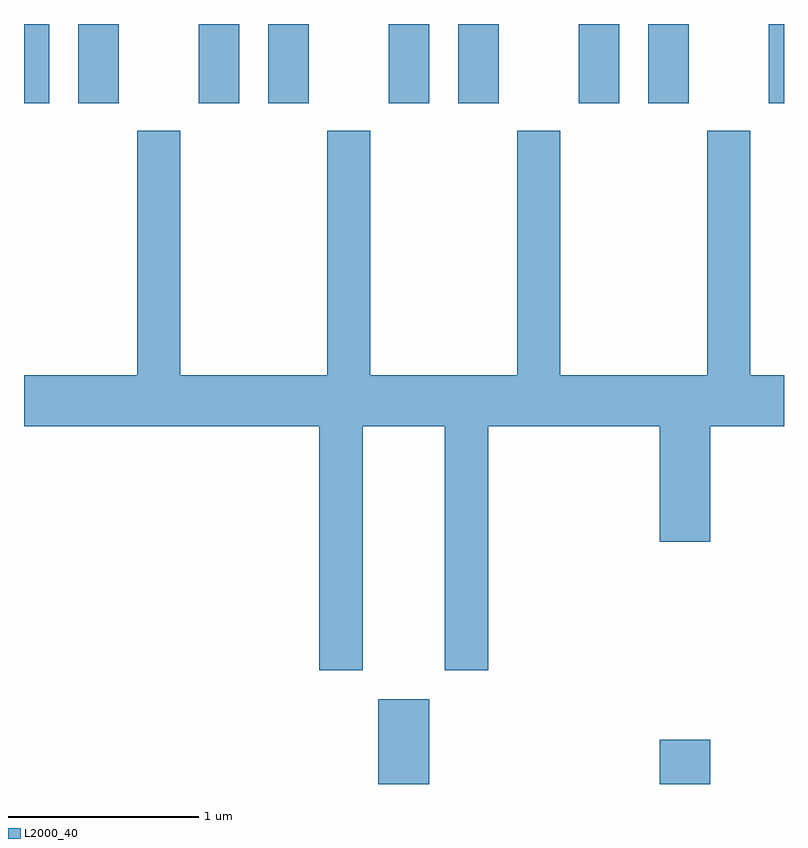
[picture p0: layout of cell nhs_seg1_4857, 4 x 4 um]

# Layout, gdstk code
import gdstk
lib = gdstk.Library(unit=1e-6, precision=1e-09)
def R(c, l, rs):  # rectangles x0, y0, x1, y1
    for r in rs: c.add(gdstk.rectangle(r[:2], r[2:], *l))
def P(c, l, *ps):  # polygons
    for p in ps: c.add(gdstk.Polygon(p, *l))
L2000_40 = (2000, 40)

nhs_seg1_4857 = lib.new_cell('nhs_seg1_4857')
R(nhs_seg1_4857, L2000_40, [(333.476,877.712,333.744,878.159), (334.956,877.712,335.224,877.944), (331.611,881.296,331.744,881.712), (331.896,881.296,332.109,881.712), (332.531,881.296,332.744,881.712), (332.896,881.296,333.109,881.712), (333.531,881.296,333.744,881.712), (333.896,881.296,334.109,881.712), (334.531,881.296,334.744,881.712), (334.896,881.296,335.109,881.712), (335.531,881.296,335.611,881.712)])
P(nhs_seg1_4857, L2000_40, [(333.394,879.596),(333.826,879.596),(333.826,878.311),(334.054,878.311),(334.054,879.596),(334.956,879.596),(334.956,878.986),(335.224,878.986),(335.224,879.596),(335.611,879.596),(335.611,879.864),(335.434,879.864),(335.434,881.149),(335.206,881.149),(335.206,879.864),(334.434,879.864),(334.434,881.149),(334.206,881.149),(334.206,879.864),(333.434,879.864),(333.434,881.149),(333.206,881.149),(333.206,879.864),(332.434,879.864),(332.434,881.149),(332.206,881.149),(332.206,879.864),(331.611,879.864),(331.611,879.596),(333.166,879.596),(333.166,878.311),(333.394,878.311)])

lib.write_gds('nhs_seg1_4857.gds')
